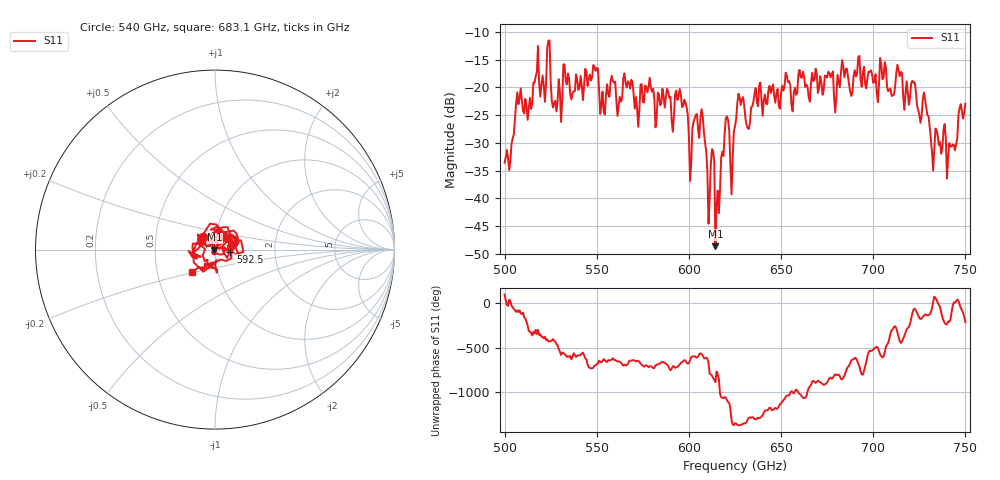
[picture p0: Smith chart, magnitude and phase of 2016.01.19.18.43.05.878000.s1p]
!Created with skrf (http://scikit-rf.org).
# GHz S RI R 50.0
!freq ReS11 ImS11
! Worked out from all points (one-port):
!   401 points, 500 GHz to 750 GHz, reference 50 ohm
!   lowest |S11| = -48.6 dB at 614.4 GHz (marker M1), VSWR 1.01, Z = 49.6 - j0.0687 ohm
!   |S11| at or under -10 dB: start of sweep to end of sweep
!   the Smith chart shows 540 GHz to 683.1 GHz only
!   S11 on the Smith chart (normalised r, x): 540 GHz: 0.87, +0.12; 592.5 GHz: 1.19, -0.03; 683.1 GHz: 0.75, -0.19
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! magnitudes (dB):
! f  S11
! 500 GHz  -33.6
! 516.9 GHz  -18.0
! 531.2 GHz  -22.4
! 540 GHz  -20.5
! 562.5 GHz  -21.7
! 565.6 GHz  -19.1
! 571.9 GHz  -23.8
! 577.5 GHz  -20.9
! 592.5 GHz  -21.3
! 593.8 GHz  -22.3
! 601.2 GHz  -33.7
! 607.5 GHz  -25.3
! 610 GHz  -35.0
! 614.4 GHz  -48.6
! 615.6 GHz  -38.6
! 620.6 GHz  -25.2
! 623.1 GHz  -39.3
! 625 GHz  -27.0
! 628.1 GHz  -23.2
! 631.9 GHz  -27.3
! 637.5 GHz  -23.4
! 656.2 GHz  -24.3
! 683.1 GHz  -15.1
! 687.5 GHz  -20.8
! 705 GHz  -18.5
! 718.8 GHz  -21.0
! 741.2 GHz  -30.0
! 750 GHz  -22.9
